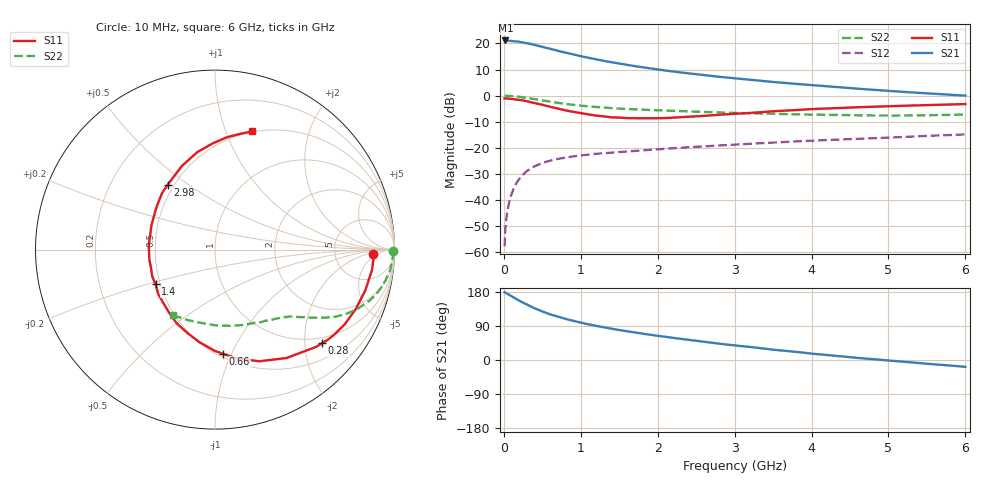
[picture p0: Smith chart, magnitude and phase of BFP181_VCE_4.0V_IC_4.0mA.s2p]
! Infineon Technologies  Discrete & RF Semiconductors
! BFP181
! VCE = 4.0 V,  IC =  4.0 mA
! Common Emitter S-Parameters:  Jan 2016
# GHz  S  MA  R  50
!  f  S11  S21  S12  S22
! GHz  MAG  ANG  MAG  ANG  MAG  ANG  MAG  ANG
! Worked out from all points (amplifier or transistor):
!   210 points, 10 MHz to 6 GHz, reference 50 ohm
!   highest |S21| = 21.2 dB at 20 MHz (marker M1)
!   |S21| within 3 dB of that: start of sweep to 579.2 MHz
!   unconditionally stable (mu >= 1): 1.897 GHz to end of sweep
!   at 185 MHz: K = 0.15, MSG = 26.6 dB, |S12| = -32.6 dB
!   at 1.52 GHz: K = 0.88, MSG = 16.9 dB, |S12| = -21.6 dB
!   at 6 GHz: K = 1.06, MAG = 5.9 dB, |S12| = -14.9 dB
!   S11 on the Smith chart (normalised r, x): 10 MHz: 15, -3; 280 MHz: 0.85, -2.40; 660 MHz: 0.53, -0.93; 1.4 GHz: 0.47, -0.21; 2.98 GHz: 0.46, +0.42; 6 GHz: 0.49, +1.24
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0.01  0.882 -1.5  11.38 178.7  0.0013 84.8  0.9926 -0.6
0.02  0.8845 -3.2  11.43 177.9  0.0028 81.8  0.9952 -1.4
0.065  0.8762 -9.7  11.27 172.2  0.0085 83.3  0.9865 -4.4
0.155  0.8491 -23.6  11 161.6  0.02 75.9  0.9657 -10.2
0.2  0.8335 -30.1  10.8 156.5  0.0252 73.5  0.9496 -12.9
0.28  0.7924 -41.2  10.29 148.3  0.0338 67.5  0.915 -17.3
0.4  0.7236 -56.6  9.408 136.4  0.0442 60.6  0.8576 -22.8
0.5  0.669 -68.5  8.604 128.0  0.0514 55.1  0.8116 -26.4
0.6  0.6133 -79.6  7.976 120.6  0.0567 51.1  0.7665 -29.2
0.66  0.582 -85.6  7.524 117.0  0.0594 49.2  0.7426 -30.5
0.8  0.5229 -99.6  6.718 108.3  0.0646 45.6  0.6949 -33.1
1.02  0.4567 -119.0  5.626 97.7  0.0716 41.3  0.6391 -36.2
1.2  0.4143 -134.0  4.966 90.1  0.0767 39.0  0.6059 -38.4
1.4  0.3833 -149.8  4.368 82.8  0.0809 37.4  0.5765 -40.4
1.7  0.3701 -171.0  3.682 72.7  0.0876 35.8  0.5459 -43.5
2.02  0.3691 169.2  3.142 63.4  0.094 34.3  0.5219 -47.0
2.42  0.3939 148.3  2.655 52.6  0.103 32.8  0.4981 -52.3
2.98  0.4466 126.3  2.167 38.9  0.1147 30.7  0.4674 -60.4
3.1  0.4569 122.5  2.083 36.4  0.1173 30.1  0.4621 -62.3
4.1  0.5588 98.4  1.549 15.1  0.1389 25.0  0.4298 -80.8
5.1  0.6344 82.7  1.206 -3.0  0.1592 19.8  0.4153 -102.2
6  0.6897 72.6  1.002 -18.0  0.1807 14.4  0.4329 -122.3
